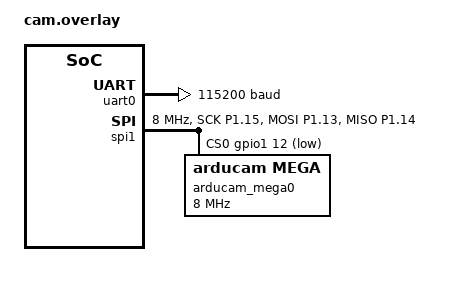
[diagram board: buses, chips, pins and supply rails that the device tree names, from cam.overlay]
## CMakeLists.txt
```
#
# Copyright (c) 2022 Nordic Semiconductor ASA
#
# SPDX-License-Identifier: LicenseRef-Nordic-5-Clause
#

cmake_minimum_required(VERSION 3.20.0)

find_package(Zephyr REQUIRED HINTS $ENV{ZEPHYR_BASE})
project(cam_server)

target_include_directories(
	app
	PRIVATE
	${ZEPHYR_BASE}/../nrfxlib/)

target_sources_ifdef(CONFIG_NRF700X_RAW_DATA_TX
	app
	PRIVATE
	src/wifi_raw_tx_pkt_shell.c)

target_sources_ifdef(CONFIG_NRF700X_PROMISC_DATA_RX
	app
	PRIVATE
	src/wifi_promiscuous_shell.c)

target_sources(app PRIVATE src/main.c)
```

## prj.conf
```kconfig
#
# Copyright (c) 2022 Nordic Semiconductor ASA
#
# SPDX-License-Identifier: LicenseRef-Nordic-5-Clause
#
CONFIG_WIFI=y
CONFIG_WIFI_NRF700X=y

# WPA supplicant
CONFIG_WPA_SUPP=y
CONFIG_NET_L2_WIFI_SHELL=y

# System settings
CONFIG_NEWLIB_LIBC=y
CONFIG_NEWLIB_LIBC_NANO=n

# Networking
CONFIG_NETWORKING=y
CONFIG_NET_SOCKETS=y
CONFIG_NET_LOG=y
CONFIG_NET_IPV6=y
CONFIG_NET_IPV4=y
CONFIG_NET_UDP=y
CONFIG_NET_TCP=y
CONFIG_NET_DHCPV4=y
CONFIG_DNS_RESOLVER=y

CONFIG_NET_STATISTICS=y
CONFIG_NET_STATISTICS_WIFI=y
CONFIG_NET_STATISTICS_USER_API=y

CONFIG_NET_PKT_RX_COUNT=8
CONFIG_NET_PKT_TX_COUNT=8

# Below section is the primary contributor to SRAM and is currently
# tuned for performance, but this will be revisited in the future.
CONFIG_NET_BUF_RX_COUNT=16
CONFIG_NET_BUF_TX_COUNT=16
CONFIG_NET_BUF_DATA_SIZE=128
CONFIG_NRF700X_RX_NUM_BUFS=16
CONFIG_NRF700X_MAX_TX_AGGREGATION=4
# nRF700x is main consumer: (16 + 8) * 1600 = ~40KB + ~40KB control path (experimental)
CONFIG_HEAP_MEM_POOL_SIZE=80000
CONFIG_NET_TC_TX_COUNT=1

CONFIG_NET_IF_UNICAST_IPV6_ADDR_COUNT=4
CONFIG_NET_IF_MCAST_IPV6_ADDR_COUNT=5
CONFIG_NET_MAX_CONTEXTS=8
CONFIG_NET_CONTEXT_SYNC_RECV=y

CONFIG_INIT_STACKS=y

CONFIG_NET_L2_ETHERNET=y
CONFIG_NET_SHELL=y

# Memories
CONFIG_MAIN_STACK_SIZE=4200
CONFIG_SHELL_STACK_SIZE=4400

CONFIG_NET_TX_STACK_SIZE=4096
CONFIG_NET_RX_STACK_SIZE=4096

# Debugging
CONFIG_STACK_SENTINEL=y
CONFIG_DEBUG_COREDUMP=y
CONFIG_DEBUG_COREDUMP_BACKEND_LOGGING=y
CONFIG_DEBUG_COREDUMP_MEMORY_DUMP_MIN=y
CONFIG_SHELL_CMDS_RESIZE=n
#CONFIG_DEBUG=y
CONFIG_WPA_SUPP_LOG_LEVEL_INF=y

# Kernel options
CONFIG_ENTROPY_GENERATOR=y

# Logging
CONFIG_LOG=y
CONFIG_PRINTK=y
CONFIG_SHELL=y
CONFIG_SHELL_GETOPT=y
CONFIG_DEVICE_SHELL=y
CONFIG_POSIX_CLOCK=y
CONFIG_DATE_SHELL=y
CONFIG_NET_CONFIG_AUTO_INIT=n

CONFIG_WIFI_MGMT_EXT=y
CONFIG_WIFI_CREDENTIALS=y
CONFIG_FLASH=y
CONFIG_FLASH_PAGE_LAYOUT=y
CONFIG_FLASH_MAP=y
CONFIG_NVS=y
CONFIG_SETTINGS=y
CONFIG_SETTINGS_NVS=y

# printing of scan results puts pressure on queues in new locking
# design in net_mgmt. So, use a higher timeout for a crowded
# environment.
CONFIG_NET_MGMT_EVENT_QUEUE_TIMEOUT=5000

CONFIG_POSIX_MAX_FDS=20

CONFIG_SPI=y
CONFIG_VIDEO=y
CONFIG_VIDEO_INIT_PRIORITY=72
CONFIG_VIDEO_BUFFER_POOL_SZ_MAX=8192
CONFIG_VIDEO_BUFFER_POOL_NUM_MAX=3


CONFIG_NET_PKT_RX_COUNT=30
CONFIG_NET_PKT_TX_COUNT=30
CONFIG_NET_BUF_RX_COUNT=30
CONFIG_NET_BUF_TX_COUNT=60
CONFIG_HEAP_MEM_POOL_SIZE=200000
CONFIG_NET_BUF_DATA_SIZE=1100
```

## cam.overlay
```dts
&uart0{
	current-speed = <115200>;
};

&pinctrl {
	spi1_default: spi1_default {
			group1 {
					psels = <NRF_PSEL(SPIM_SCK, 1, 15)>,
							<NRF_PSEL(SPIM_MOSI, 1, 13)>,
							<NRF_PSEL(SPIM_MISO, 1, 14)>;
			};
	};

	spi1_sleep: spi1_sleep {
			group1 {
					psels = <NRF_PSEL(SPIM_SCK, 1, 15)>,
							<NRF_PSEL(SPIM_MOSI, 1, 13)>,
							<NRF_PSEL(SPIM_MISO, 1, 14)>;
					low-power-enable;
			};
	};
};

&spi1 {
	clock-frequency = <8000000>;
	compatible = "nordic,nrf-spim";
	status = "okay";
	pinctrl-0 = <&spi1_default>;
	pinctrl-1 = <&spi1_sleep>;
	pinctrl-names = "default", "sleep";
	cs-gpios = <&gpio1 12 GPIO_ACTIVE_LOW>;
	arducam_mega0:arducam-mega0@0 {
			compatible = "arducam,mega";
			reg = <0>;
			spi-max-frequency = <8000000>;
			status = "okay";
	};
};

/delete-node/ &ipc0;
/delete-node/ &sram0_shared;
/ {
	chosen {
		/delete-property/ zephyr,ipc_shm;
		/delete-property/ zephyr,bt-hci-ipc;
		/delete-property/ nordic,802154-spinel-ipc;
	};


};

&sram0_image {
	reg = < 0x20000000 DT_SIZE_K(512) >;
};
```

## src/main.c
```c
/*
 * Copyright (c) 2022 Nordic Semiconductor ASA
 *
 * SPDX-License-Identifier: LicenseRef-Nordic-5-Clause
 */

/** @file
 * @brief WiFi shell sample main function
 */

#include <zephyr/sys/printk.h>
#include <zephyr/kernel.h>
#if defined(CLOCK_FEATURE_HFCLK_DIVIDE_PRESENT) || NRF_CLOCK_HAS_HFCLK192M
#include <nrfx_clock.h>
#endif
#include <zephyr/device.h>
#include <zephyr/net/net_config.h>
#include <stdio.h>

#if !defined(__ZEPHYR__) || defined(CONFIG_POSIX_API)

#include <netinet/in.h>
#include <sys/socket.h>
#include <arpa/inet.h>
#include <unistd.h>

#else

#include <zephyr/net/socket.h>
#include <zephyr/kernel.h>

#include <zephyr/net/net_pkt.h>

#endif

#define BIND_PORT 8080

#include <zephyr/drivers/video.h>
#include <zephyr/drivers/video/arducam_mega.h>

#define CHECK(r) { if (r == -1) { printf("Error: " #r "\n"); exit(1); } }

const struct device *video;
struct video_buffer *vbuf;
static struct arducam_mega_info mega_info;

const char JHEADER[] = "HTTP/1.1 200 OK\r\n" \
                       "Content-disposition: inline; filename=capture.jpg\r\n" \
                       "Content-type: image/jpeg\r\n\r\n";

const char HEADER[] = "HTTP/1.1 200 OK\r\n" \
                      "Access-Control-Allow-Origin: *\r\n" \
                      "Content-Type: multipart/x-mixed-replace; boundary=123456789000000000000987654321\r\n";
const char BOUNDARY[] = "\r\n--123456789000000000000987654321\r\n";
const char CTNTTYPE[] = "Content-Type: image/jpeg\r\nContent-Length: ";


uint8_t img_buffer[40000];
uint32_t img_buffer_size;
void get_image(void) {
	uint32_t timestamp;
	uint32_t cursor;


	video_dequeue(video, VIDEO_EP_OUT, &vbuf, K_FOREVER);
	//mark down the current timestamp, and start recording when next frame comes
	timestamp = vbuf->timestamp;
	img_buffer_size = vbuf->bytesframe;
	cursor = 0;
	memcpy(img_buffer+cursor, vbuf->buffer, vbuf->bytesused);
	cursor += vbuf->bytesused;
	video_enqueue(video, VIDEO_EP_OUT, vbuf);
	while (cursor < img_buffer_size) {
		video_dequeue(video, VIDEO_EP_OUT, &vbuf, K_FOREVER);
		memcpy(img_buffer+cursor, vbuf->buffer, vbuf->bytesused);
		cursor += vbuf->bytesused;
		video_enqueue(video, VIDEO_EP_OUT, vbuf);
	}
}

int main(void)
{

#if defined(CLOCK_FEATURE_HFCLK_DIVIDE_PRESENT) || NRF_CLOCK_HAS_HFCLK192M
	/* For now hardcode to 128MHz */
	nrfx_clock_divider_set(NRF_CLOCK_DOMAIN_HFCLK,
			       NRF_CLOCK_HFCLK_DIV_1);
#endif
	printk("Starting %s with CPU frequency: %d MHz\n", CONFIG_BOARD, SystemCoreClock/MHZ(1));



	int ret;
	struct video_buffer *buffers[3];

	video = DEVICE_DT_GET(DT_NODELABEL(arducam_mega0));

	if (!device_is_ready(video))
	{
		printk("Video device %s not ready.", video->name);
		return -1;
	}

	video_stream_stop(video);
	printk("Device %s is ready!", video->name);
	k_msleep(100);
	video_get_ctrl(video, VIDEO_CID_ARDUCAM_INFO, &mega_info);
	struct video_format format;
	format.height = 480;
	format.width = 640;
	format.pixelformat = VIDEO_PIX_FMT_JPEG;
	video_set_format(video, VIDEO_EP_ANY, &format);
	for (int i = 0; i < ARRAY_SIZE(buffers); i++)
	{
		buffers[i] = video_buffer_alloc(4096);
		if (buffers[i] == NULL)
		{
			printk("Unable to alloc video buffer");
			return -1;
		}
		video_enqueue(video, VIDEO_EP_OUT, buffers[i]);
	}
	video_stream_start(video);



	int serv;
	struct sockaddr_in bind_addr;
	static int counter;

	serv = socket(AF_INET, SOCK_STREAM, IPPROTO_TCP);
	CHECK(serv);

	bind_addr.sin_family = AF_INET;
	bind_addr.sin_addr.s_addr = htonl(INADDR_ANY);
	bind_addr.sin_port = htons(BIND_PORT);
	CHECK(bind(serv, (struct sockaddr *)&bind_addr, sizeof(bind_addr)));

	CHECK(listen(serv, 5));

	printf("Single-threaded dumb HTTP server waits for a connection on "
	       "port %d...\n", BIND_PORT);

	while (1) {
		struct sockaddr_in client_addr;
		socklen_t client_addr_len = sizeof(client_addr);
		char addr_str[32];
		int req_state = 0;
		const char *data;
		size_t len;

		int client = accept(serv, (struct sockaddr *)&client_addr,
				    &client_addr_len);
		if (client < 0) {
			printf("Error in accept: %d - continuing\n", errno);
			continue;
		}

		inet_ntop(client_addr.sin_family, &client_addr.sin_addr,
			  addr_str, sizeof(addr_str));
		printf("Connection #%d from %s\n", counter++, addr_str);

		/* Discard HTTP request (or otherwise client will get
		 * connection reset error).
		 */
		while (1) {
			ssize_t r;
			char c;

			r = recv(client, &c, 1, 0);
			if (r == 0) {
				goto close_client;
			}

			if (r < 0) {
				if (errno == EAGAIN || errno == EINTR) {
					continue;
				}

				printf("Got error %d when receiving from "
				       "socket\n", errno);
				goto close_client;
			}
			if (req_state == 0 && c == '\r') {
				req_state++;
			} else if (req_state == 1 && c == '\n') {
				req_state++;
			} else if (req_state == 2 && c == '\r') {
				req_state++;
			} else if (req_state == 3 && c == '\n') {
				break;
			} else {
				req_state = 0;
			}
		}
		/* HTTP Header */
		data = HEADER;
		len = strlen(HEADER);
		while (len) {
			int sent_len = send(client, data, len, 0);

			if (sent_len == -1) {
				printf("Error sending data to peer, errno: %d\n", errno);
				break;
			}
			data += sent_len;
			len -= sent_len;
		}
		/* HTTP boundary */
		data = BOUNDARY;
		len = strlen(BOUNDARY);
		while (len) {
			int sent_len = send(client, data, len, 0);

			if (sent_len == -1) {
				printf("Error sending data to peer, errno: %d\n", errno);
				break;
			}
			data += sent_len;
			len -= sent_len;
		}

		/* Keep sending images */
		uint64_t t_start, t_end;
		while (1) {

			get_image();

			t_start = k_uptime_get();


			/* HTTP content type */
			data = CTNTTYPE;
			len = strlen(CTNTTYPE);
			while (len) {
				int sent_len = send(client, data, len, 0);

				if (sent_len == -1) {
					printf("Error sending data to peer, errno: %d\n", errno);
					goto close_client;
				}
				data += sent_len;
				len -= sent_len;
			}
			/* Image size */
			char buf[20];
			sprintf(buf, "%d\r\n\r\n", img_buffer_size);

			data = buf;
			len = strlen(buf);
			while (len) {
				int sent_len = send(client, data, len, 0);

				if (sent_len == -1) {
					printf("Error sending data to peer, errno: %d\n", errno);
					goto close_client;
				}
				data += sent_len;
				len -= sent_len;
			}
			/* message body containing img bytes */
			data = img_buffer;
			len = img_buffer_size;
			while (len) {
				int sent_len = send(client, data, len, 0);

				if (sent_len == -1) {
					printf("Error sending data to peer, errno: %d\n", errno);
					goto close_client;
				}
				data += sent_len;
				len -= sent_len;
			}
			/* HTTP boundary */
			data = BOUNDARY;
			len = strlen(BOUNDARY);
			while (len) {
				int sent_len = send(client, data, len, 0);

				if (sent_len == -1) {
					printf("Error sending data to peer, errno: %d\n", errno);
					goto close_client;
				}
				data += sent_len;
				len -= sent_len;
			}
			t_end = k_uptime_get();
			printk("Transmission %lld ms.\n", t_end - t_start);
			k_msleep(10);

		}


close_client:
		ret = close(client);
		if (ret == 0) {
			printf("Connection from %s closed\n", addr_str);
		} else {
			printf("Got error %d while closing the "
			       "socket\n", errno);
		}

#if defined(__ZEPHYR__) && defined(CONFIG_NET_BUF_POOL_USAGE)
		struct k_mem_slab *rx, *tx;
		struct net_buf_pool *rx_data, *tx_data;

		net_pkt_get_info(&rx, &tx, &rx_data, &tx_data);
		printf("rx buf: %d, tx buf: %d\n",
		       atomic_get(&rx_data->avail_count), atomic_get(&tx_data->avail_count));
#endif

	}

	return 0;
}
```
